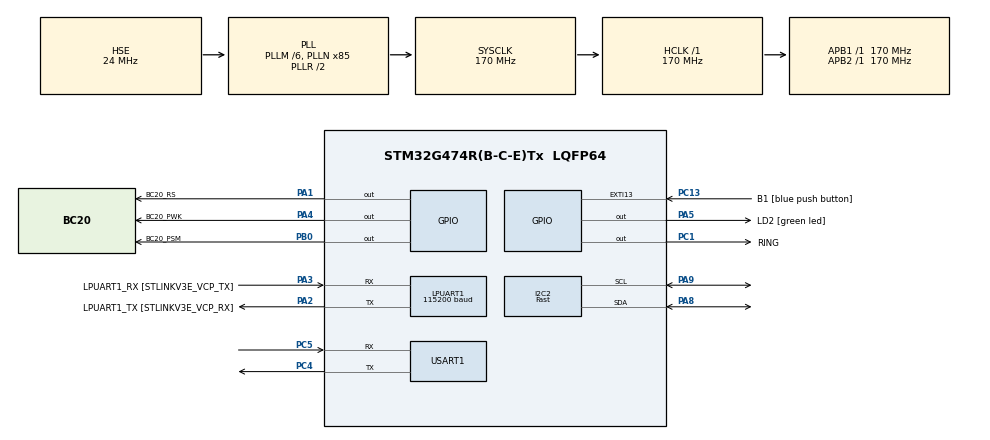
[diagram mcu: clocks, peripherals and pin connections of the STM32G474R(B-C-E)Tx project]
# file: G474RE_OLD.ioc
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Dma.Request0=USART1_RX
Dma.USART1_RX.0.Direction=DMA_PERIPH_TO_MEMORY
Dma.USART1_RX.0.EventEnable=DISABLE
Dma.USART1_RX.0.Instance=DMA1_Channel1
Dma.USART1_RX.0.MemDataAlignment=DMA_MDATAALIGN_BYTE
Dma.USART1_RX.0.MemInc=DMA_MINC_ENABLE
Dma.USART1_RX.0.Mode=DMA_NORMAL
Dma.USART1_RX.0.PeriphDataAlignment=DMA_PDATAALIGN_BYTE
Dma.USART1_RX.0.PeriphInc=DMA_PINC_DISABLE
Dma.USART1_RX.0.Polarity=HAL_DMAMUX_REQ_GEN_RISING
Dma.USART1_RX.0.Priority=DMA_PRIORITY_LOW
Dma.USART1_RX.0.RequestNumber=1
Dma.USART1_RX.0.SignalID=NONE
Dma.USART1_RX.0.SyncEnable=DISABLE
Dma.USART1_RX.0.SyncPolarity=HAL_DMAMUX_SYNC_NO_EVENT
Dma.USART1_RX.0.SyncRequestNumber=1
Dma.USART1_RX.0.SyncSignalID=NONE
I2C2.I2C_Speed_Mode=I2C_Fast
I2C2.Timing=0x10802D9B
LPUART1.BaudRate=115200
LPUART1.WordLength=UART_WORDLENGTH_8B
Mcu.Family=STM32G4
Mcu.Name=STM32G474R(B-C-E)Tx
Mcu.Package=LQFP64
NVIC.DMA1_Channel1_IRQn=true\:1\:0\:true\:false\:true\:false\:true
NVIC.EXTI15_10_IRQn=true\:1\:0\:true\:false\:true\:true\:true
NVIC.LPUART1_IRQn=true\:1\:0\:true\:false\:true\:true\:true
NVIC.PriorityGroup=NVIC_PRIORITYGROUP_4
NVIC.TIM6_DAC_IRQn=true\:2\:0\:true\:false\:true\:true\:true
NVIC.TIM7_DAC_IRQn=true\:0\:0\:false\:false\:true\:true\:true
NVIC.USART1_IRQn=true\:1\:0\:true\:false\:true\:true\:true
PA1.GPIO_Label=BC20_RS
PA1.GPIO_ModeDefaultOutputPP=GPIO_MODE_OUTPUT_PP
PA1.GPIO_PuPd=GPIO_PULLUP
PA1.Signal=GPIO_Output
PA13.GPIO_Label=T_SWDIO
PA13.Mode=Serial_Wire
PA13.Signal=SYS_JTMS-SWDIO
PA14.GPIO_Label=T_SWCLK
PA14.Mode=Serial_Wire
PA14.Signal=SYS_JTCK-SWCLK
PA2.GPIO_Label=LPUART1_TX [STLINKV3E_VCP_RX]
PA2.Mode=Asynchronous
PA2.Signal=LPUART1_TX
PA3.GPIO_Label=LPUART1_RX [STLINKV3E_VCP_TX]
PA3.Mode=Asynchronous
PA3.Signal=LPUART1_RX
PA4.GPIO_Label=BC20_PWK
PA4.GPIO_PuPd=GPIO_PULLUP
PA4.Signal=GPIO_Output
PA5.GPIO_Label=LD2 [green led]
PA5.GPIO_PuPd=GPIO_PULLUP
PA5.Signal=GPIO_Output
PA8.Mode=I2C
PA8.Signal=I2C2_SDA
PA9.Mode=I2C
PA9.Signal=I2C2_SCL
PB0.GPIO_Label=BC20_PSM
PB0.GPIO_PuPd=GPIO_PULLUP
PB0.Signal=GPIO_Output
PB3.GPIO_Label=T_SWO
PB3.Signal=SYS_JTDO-SWO
PC1.GPIO_Label=RING
PC1.GPIO_PuPd=GPIO_PULLUP
PC1.PinState=GPIO_PIN_SET
PC1.Signal=GPIO_Output
PC13.GPIO_Label=B1 [blue push button]
PC13.Signal=GPXTI13
PC14-OSC32_IN.Mode=LSE-External-Oscillator
PC14-OSC32_IN.Signal=RCC_OSC32_IN
PC15-OSC32_OUT.Mode=LSE-External-Oscillator
PC15-OSC32_OUT.Signal=RCC_OSC32_OUT
PC4.Mode=Asynchronous
PC4.Signal=USART1_TX
PC5.Mode=Asynchronous
PC5.Signal=USART1_RX
PF0-OSC_IN.Mode=HSE-External-Oscillator
PF0-OSC_IN.Signal=RCC_OSC_IN
PF1-OSC_OUT.Mode=HSE-External-Oscillator
PF1-OSC_OUT.Signal=RCC_OSC_OUT
ProjectManager.HeapSize=0x800
ProjectManager.StackSize=0x800
ProjectManager.TargetToolchain=MDK-ARM V5.32
RCC.ADC12Freq_Value=170000000
RCC.ADC345Freq_Value=170000000
RCC.AHBFreq_Value=170000000
RCC.APB1Freq_Value=170000000
RCC.APB1TimFreq_Value=170000000
RCC.APB2Freq_Value=170000000
RCC.APB2TimFreq_Value=170000000
RCC.CortexFreq_Value=170000000
RCC.EXTERNAL_CLOCK_VALUE=12288000
RCC.HCLKFreq_Value=170000000
RCC.HSE_VALUE=24000000
RCC.HSI48_VALUE=48000000
RCC.HSI_VALUE=16000000
RCC.PLLM=RCC_PLLM_DIV6
RCC.PLLN=85
RCC.PLLSourceVirtual=RCC_PLLSOURCE_HSE
RCC.RTCClockSelection=RCC_RTCCLKSOURCE_LSE
RCC.SYSCLKFreq_VALUE=170000000
RCC.SYSCLKSource=RCC_SYSCLKSOURCE_PLLCLK
RCC.USBFreq_Value=170000000
RCC.VCOOutputFreq_Value=340000000
STMicroelectronics.X-CUBE-AI.7.0.0.ActivationBufferSizeList=110
STMicroelectronics.X-CUBE-AI.7.0.0.ApplicationCcDeviceJjApplication=ApplicationTemplate
STMicroelectronics.X-CUBE-AI.7.0.0.HeapSize=0x800
STMicroelectronics.X-CUBE-AI.7.0.0.InternalRamActivationBufferMaxSize=AI_NETWORK2_DATA_ACTIVATIONS_SIZE
STMicroelectronics.X-CUBE-AI.7.0.0.LatestDirectoryUsed-28c458613a29249e580201569c3d4683031f862b2aa42e3495b3cd87669afb11=D\:\\Project\\Embedded competition\\model
STMicroelectronics.X-CUBE-AI.7.0.0.MaximumNumberOfInputLayer=1
STMicroelectronics.X-CUBE-AI.7.0.0.MaximumNumberOfOutputLayer=1
STMicroelectronics.X-CUBE-AI.7.0.0.MaximumSizeOfInputLayer=AI_NETWORK2_IN_1_SIZE_BYTES
STMicroelectronics.X-CUBE-AI.7.0.0.MaximumSizeOfOutputLayer=AI_NETWORK2_OUT_1_SIZE_BYTES
STMicroelectronics.X-CUBE-AI.7.0.0.ModelActualCompression-28c458613a29249e580201569c3d4683031f862b2aa42e3495b3cd87669afb11=0.0
STMicroelectronics.X-CUBE-AI.7.0.0.ModelCompression-28c458613a29249e580201569c3d4683031f862b2aa42e3495b3cd87669afb11=1
STMicroelectronics.X-CUBE-AI.7.0.0.ModelFlashOccupation-28c458613a29249e580201569c3d4683031f862b2aa42e3495b3cd87669afb11=5064
STMicroelectronics.X-CUBE-AI.7.0.0.ModelHashList=28c458613a29249e580201569c3d4683031f862b2aa42e3495b3cd87669afb11
STMicroelectronics.X-CUBE-AI.7.0.0.ModelKind-28c458613a29249e580201569c3d4683031f862b2aa42e3495b3cd87669afb11=TFLITE
STMicroelectronics.X-CUBE-AI.7.0.0.ModelMacc-28c458613a29249e580201569c3d4683031f862b2aa42e3495b3cd87669afb11=4772
STMicroelectronics.X-CUBE-AI.7.0.0.ModelName-28c458613a29249e580201569c3d4683031f862b2aa42e3495b3cd87669afb11=network2
STMicroelectronics.X-CUBE-AI.7.0.0.ModelNameList=network2
STMicroelectronics.X-CUBE-AI.7.0.0.ModelRamOccupation-28c458613a29249e580201569c3d4683031f862b2aa42e3495b3cd87669afb11=110
STMicroelectronics.X-CUBE-AI.7.0.0.ModelStructureFile-28c458613a29249e580201569c3d4683031f862b2aa42e3495b3cd87669afb11=D\:\\Project\\Embedded competition\\model\\uint8_quant_FDMLPmodel.tflite
STMicroelectronics.X-CUBE-AI.7.0.0.ModelType-28c458613a29249e580201569c3d4683031f862b2aa42e3495b3cd87669afb11=STM32Cube.AI runtime
STMicroelectronics.X-CUBE-AI.7.0.0.ReadyForCodeGeneration=true
STMicroelectronics.X-CUBE-AI.7.0.0.StackSize=0x800
STMicroelectronics.X-CUBE-AI.7.0.0.WorkingBufferStartAddrList=0xFFFFFFFF
STMicroelectronics.X-CUBE-AI.7.0.0.XAaCUBEAaAICcArtificialOoIntelligenceJjCore=true
TIM6.PeriodNoDither=30000-1
TIM6.Prescaler=17000-1
TIM7.PeriodNoDither=5000
TIM7.Prescaler=170-1
USART1.VirtualMode-Asynchronous=VM_ASYNC
VP_CRC_VS_CRC.Mode=CRC_Activate
VP_STMicroelectronics.X-CUBE-AI_VS_ArtificialOoIntelligenceJjXAaCUBEAaAI_7.0.0.Mode=ArtificialOoIntelligenceJjXAaCUBEAaAI
VP_STMicroelectronics.X-CUBE-AI_VS_DeviceJjApplication_7.0.0.Mode=DeviceJjApplication
VP_SYS_VS_DBSignals.Mode=DisableDeadBatterySignals
VP_TIM6_VS_ClockSourceINT.Mode=Enable_Timer
VP_TIM7_VS_ClockSourceINT.Mode=Enable_Timer
board=NUCLEO-G474RE

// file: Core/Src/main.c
/* USER CODE BEGIN Header */
/**
  ******************************************************************************
  * @file           : main.c
  * @brief          : Main program body
  ******************************************************************************
  * @attention
  *
  * <h2><center>&copy; Copyright (c) 2021 STMicroelectronics.
  * All rights reserved.</center></h2>
  *
  * This software component is licensed by ST under Ultimate Liberty license
  * SLA0044, the "License"; You may not use this file except in compliance with
  * the License. You may obtain a copy of the License at:
  *                             www.st.com/SLA0044
  *
  ******************************************************************************
  */
/* USER CODE END Header */
#include "main.h"
#include "crc.h"
#include "dma.h"
#include "i2c.h"
#include "usart.h"
#include "tim.h"
#include "gpio.h"
#include "app_x-cube-ai.h"

/* USER CODE BEGIN Includes */
#include <math.h>
#include <stdio.h>
#include "MPU6050.h"
#include "BC20.h"
/* USER CODE END Includes */

/* USER CODE BEGIN PV */
MPU6050_t MPU6050;
gps_msg gpsmsg;
BC20_Data_TypeDef BC20_GPS_Data;

extern float aiwindow_Ax[2000];
extern float aiwindow_Ay[2000];
extern float aiwindow_Az[2000];
extern float aiwindow_APitch[2000];
extern float aiwindow_Gx[2000];
extern float aiwindow_Gy[2000];
extern float aiwindow_Gz[2000];
extern float aiwindow_GPitch[2000];
uint8_t BC20flag = 0;
uint8_t Fallflag = 0;
uint8_t usart1_rx_flag = 0;
uint16_t usart1_rx_len = 0;

uint8_t usart1_dma_buffer[1024];
uint8_t usart1_rx_buffer[2048];

/* USER CODE END PV */

void SystemClock_Config(void);

int main(void)
{

  /* MCU Configuration--------------------------------------------------------*/

  /* Reset of all peripherals, Initializes the Flash interface and the Systick. */
  HAL_Init();

  /* Configure the system clock */
  SystemClock_Config();

  /* USER CODE BEGIN SysInit */
    MX_DMA_Init();
  /* USER CODE END SysInit */

  /* Initialize all configured peripherals */
  MX_GPIO_Init();
  MX_LPUART1_UART_Init();
  MX_CRC_Init();
  MX_USART1_UART_Init();
  MX_DMA_Init();
  MX_I2C2_Init();
  MX_TIM6_Init();
  MX_TIM7_Init();
  MX_X_CUBE_AI_Init();
  /* USER CODE BEGIN 2 */
    HAL_TIM_Base_Start_IT(&htim6);
    HAL_TIM_Base_Start_IT(&htim7);

    __HAL_UART_ENABLE_IT(&huart1, UART_IT_IDLE);
    __HAL_UART_CLEAR_IDLEFLAG(&huart1);          	//清除串口1空闲中断标志位
    HAL_UART_Receive_DMA(&huart1, (uint8_t *)&usart1_dma_buffer, 1024);

    printf("6050初始化...\r\n");
    while (MPU6050_Init(&hi2c2) == 1); 						//初始化6050模块
    printf("6050初始化完毕\r\n");

    printf("BC20初始化...\r\n");
    BC20_Init();
    printf("BC20联网完毕\r\n");

    printf("BC20 GPS初始化...\r\n");
    BC20_GNSS_INIT();
    printf("BC20 GPS初始化完毕\r\n");

  /* USER CODE END 2 */

  /* Infinite loop */
    while (1)
    {

  MX_X_CUBE_AI_Process();
    }
}

void SystemClock_Config(void)
{
  RCC_OscInitTypeDef RCC_OscInitStruct = {0};
  RCC_ClkInitTypeDef RCC_ClkInitStruct = {0};
  RCC_PeriphCLKInitTypeDef PeriphClkInit = {0};

  /** Configure the main internal regulator output voltage
  */
  HAL_PWREx_ControlVoltageScaling(PWR_REGULATOR_VOLTAGE_SCALE1_BOOST);
  /** Initializes the RCC Oscillators according to the specified parameters
  * in the RCC_OscInitTypeDef structure.
  */
  RCC_OscInitStruct.OscillatorType = RCC_OSCILLATORTYPE_HSE;
  RCC_OscInitStruct.HSEState = RCC_HSE_ON;
  RCC_OscInitStruct.PLL.PLLState = RCC_PLL_ON;
  RCC_OscInitStruct.PLL.PLLSource = RCC_PLLSOURCE_HSE;
  RCC_OscInitStruct.PLL.PLLM = RCC_PLLM_DIV6;
  RCC_OscInitStruct.PLL.PLLN = 85;
  RCC_OscInitStruct.PLL.PLLP = RCC_PLLP_DIV2;
  RCC_OscInitStruct.PLL.PLLQ = RCC_PLLQ_DIV2;
  RCC_OscInitStruct.PLL.PLLR = RCC_PLLR_DIV2;
  if (HAL_RCC_OscConfig(&RCC_OscInitStruct) != HAL_OK)
  {
    Error_Handler();
  }
  /** Initializes the CPU, AHB and APB buses clocks
  */
  RCC_ClkInitStruct.ClockType = RCC_CLOCKTYPE_HCLK|RCC_CLOCKTYPE_SYSCLK
                              |RCC_CLOCKTYPE_PCLK1|RCC_CLOCKTYPE_PCLK2;
  RCC_ClkInitStruct.SYSCLKSource = RCC_SYSCLKSOURCE_PLLCLK;
  RCC_ClkInitStruct.AHBCLKDivider = RCC_SYSCLK_DIV1;
  RCC_ClkInitStruct.APB1CLKDivider = RCC_HCLK_DIV1;
  RCC_ClkInitStruct.APB2CLKDivider = RCC_HCLK_DIV1;

  if (HAL_RCC_ClockConfig(&RCC_ClkInitStruct, FLASH_LATENCY_4) != HAL_OK)
  {
    Error_Handler();
  }
  /** Initializes the peripherals clocks
  */
  PeriphClkInit.PeriphClockSelection = RCC_PERIPHCLK_USART1|RCC_PERIPHCLK_LPUART1
                              |RCC_PERIPHCLK_I2C2;
  PeriphClkInit.Usart1ClockSelection = RCC_USART1CLKSOURCE_PCLK2;
  PeriphClkInit.Lpuart1ClockSelection = RCC_LPUART1CLKSOURCE_PCLK1;
  PeriphClkInit.I2c2ClockSelection = RCC_I2C2CLKSOURCE_PCLK1;
  if (HAL_RCCEx_PeriphCLKConfig(&PeriphClkInit) != HAL_OK)
  {
    Error_Handler();
  }
}

/* USER CODE BEGIN 4 */

void HAL_TIM_PeriodElapsedCallback(TIM_HandleTypeDef* tim_baseHandle) //定时器触发中断
{
    int j=200;

    if(tim_baseHandle->Instance == htim7.Instance && BC20flag==1)
    {
        MPU6050_Read_All(&hi2c2, &MPU6050);
        int16_t i = 1999;
        while (i > 0)
        {
            aiwindow_Ax[i] = aiwindow_Ax[i - 1];
            aiwindow_Ay[i] = aiwindow_Ay[i - 1];
            aiwindow_Az[i] = aiwindow_Az[i - 1];
            aiwindow_APitch[i] = aiwindow_APitch[i - 1];

            aiwindow_Gx[i] = aiwindow_Gx[i - 1];
            aiwindow_Gy[i] = aiwindow_Gy[i - 1];
            aiwindow_Gz[i] = aiwindow_Gz[i - 1];
            aiwindow_GPitch[i] = aiwindow_GPitch[i - 1];

            i--;
        }

        aiwindow_Ax[0] = MPU6050.Ax;
        aiwindow_Ay[0] = MPU6050.Ay;
        aiwindow_Az[0] = MPU6050.Az;
        aiwindow_APitch[0] = atan2(aiwindow_Ax[0], aiwindow_Az[0]);
        aiwindow_Gx[0] = MPU6050.Gx;
        aiwindow_Gy[0] = MPU6050.Gy;
        aiwindow_Gz[0] = MPU6050.Gz;
        aiwindow_GPitch[0] = atan2(aiwindow_Gx[0], aiwindow_Gz[0]);
    }
    if(tim_baseHandle->Instance == htim6.Instance && BC20flag==1)
    {
        j--;
        if(j==0)
        {
            printf("发送GPS数据");
            j=200;
        }
        if(j==100)
        {
            BC20_SendMes(123,"Normal");
        }
    }

}

void HAL_GPIO_EXTI_Callback(uint16_t GPIO_Pin)
{
    if (GPIO_Pin == GPIO_PIN_13)
    {

        HAL_GPIO_WritePin(RING_GPIO_Port,RING_Pin,GPIO_PIN_SET);
        //设置蜂鸣器的电平为低电平

        __HAL_GPIO_EXTI_CLEAR_IT(GPIO_PIN_13);
    }
}

/* USER CODE END 4 */

void Error_Handler(void)
{
    __disable_irq();
    while (1)
    {
    }
}

/************************ (C) COPYRIGHT STMicroelectronics *****END OF FILE****/
